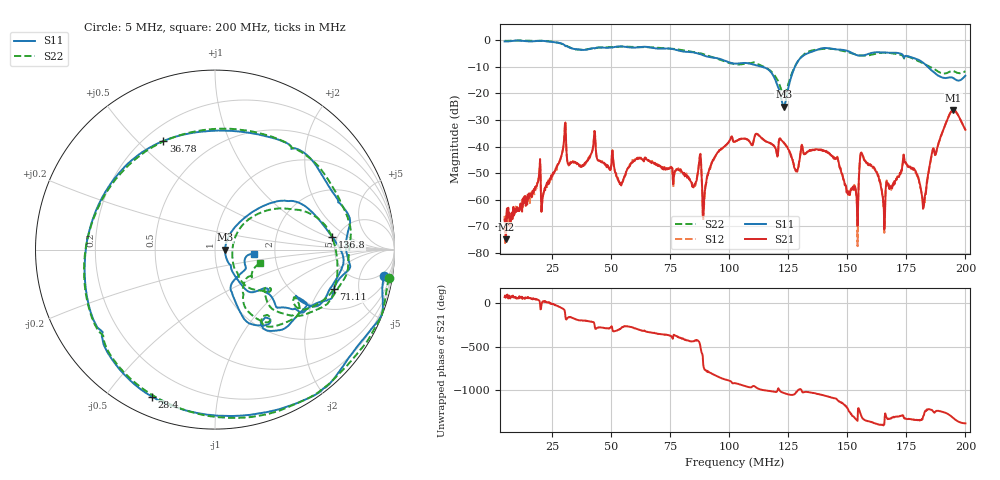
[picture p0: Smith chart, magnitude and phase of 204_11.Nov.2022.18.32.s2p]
!Keysight Technologies N9917A: A.12.46
!Date: Friday, 11 November 2022 18:32:42
!Timezone: (UTC) Coordinated Universal Time
!Model: N9917A
!Serial: MY56071016
!GPS Latitude:
!GPS Longitude:
!GPS TimeStamp: 0001-01-01 00:00:00Z
!GPS Seconds Since Last Read: 0
!CHECKSUM:0207497798
!Correction: S11(ON U)S21(ON U)S12(ON U)S22(ON U)
!S2P File: Measurements:S11,S21,S12,S22:
# Hz S DB R 50
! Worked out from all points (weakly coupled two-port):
!   1001 points, 5 MHz to 200 MHz, reference 50 ohm
!   highest |S21| = -26.20 dB at 194.9 MHz (marker M1); lowest = -75.0 dB at 5.585 MHz (marker M2)
!   lowest |S11| = -25.0 dB at 123.2 MHz (marker M3), VSWR 1.12, Z = 55.9 - j0.00262 ohm
!   |S11| at or under -10 dB: 114.2 MHz to 127.8 MHz (13.63 MHz wide, 11.3 % of centre); 184.1 MHz to end of sweep
!   |S22| runs from -20.3 to 0.0 dB; largest |S21 - S12| = 0.00068
!   S11 on the Smith chart (normalised r, x): 5 MHz: 3, -12; 28.4 MHz: 0.08, -0.66; 36.78 MHz: 0.27, +0.60; 71.11 MHz: 3.16, -2.71; 136.8 MHz: 4.53, +1.13; 200 MHz: 1.55, -0.07
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5000000  -0.40 -9.0  -67.70 72.7  -66.11 93.9  -0.15 -9.3
5585000  -0.42 -10.5  -74.97 68.4  -69.23 101.1  -0.17 -10.7
2.0015e7  -0.16 -52.0  -44.76 -10.9  -44.74 -12.2  -0.19 -52.1
2.84e7  -1.00 -113.2  -45.20 -43.2  -45.42 -42.7  -1.06 -112.0
3.6785e7  -3.47 115.4  -47.25 163.3  -46.82 163.7  -3.51 116.5
3.7565e7  -3.56 104.9  -47.61 162.8  -47.69 161.1  -3.52 105.7
4.8095e7  -2.79 30.9  -47.60 70.5  -47.06 73.9  -2.60 30.1
7.013e7  -3.10 -16.4  -47.38 7.4  -46.84 10.1  -2.82 -16.5
7.1105e7  -3.13 -18.4  -47.45 2.6  -47.62 1.9  -2.89 -17.9
8.7485e7  -5.14 -36.4  -44.61 -94.9  -44.80 -95.6  -4.88 -39.7
8.963e7  -5.80 -39.1  -57.73 -45.3  -58.56 -42.3  -5.33 -42.1
1.025e8  -8.73 -40.1  -38.02 158.1  -38.11 157.6  -9.00 -39.2
1.2317e8  -25.03 -0.0  -38.44 44.3  -38.54 43.7  -20.29 -4.7
1.35065e8  -4.25 14.0  -41.33 47.2  -41.16 46.4  -3.79 8.5
1.3682e8  -3.65 6.2  -40.99 38.1  -41.11 37.9  -3.50 1.4
1.53785e8  -5.47 -30.6  -58.04 98.6  -57.86 99.5  -5.35 -34.8
1.5632e8  -5.71 -30.4  -42.77 117.9  -42.99 117.1  -5.73 -31.8
1.6763e8  -4.63 -42.5  -55.25 102.9  -54.13 110.8  -4.71 -41.6
1.74455e8  -5.93 -52.3  -46.06 113.2  -45.94 111.1  -6.26 -50.6
1.8245e8  -8.63 -68.1  -62.23 146.7  -59.97 164.1  -8.80 -62.5
1.9493e8  -14.19 -28.9  -26.20 114.0  -26.20 113.8  -11.58 -37.1
2e8  -13.31 -5.9  -33.66 53.5  -33.66 53.6  -11.63 -16.3
